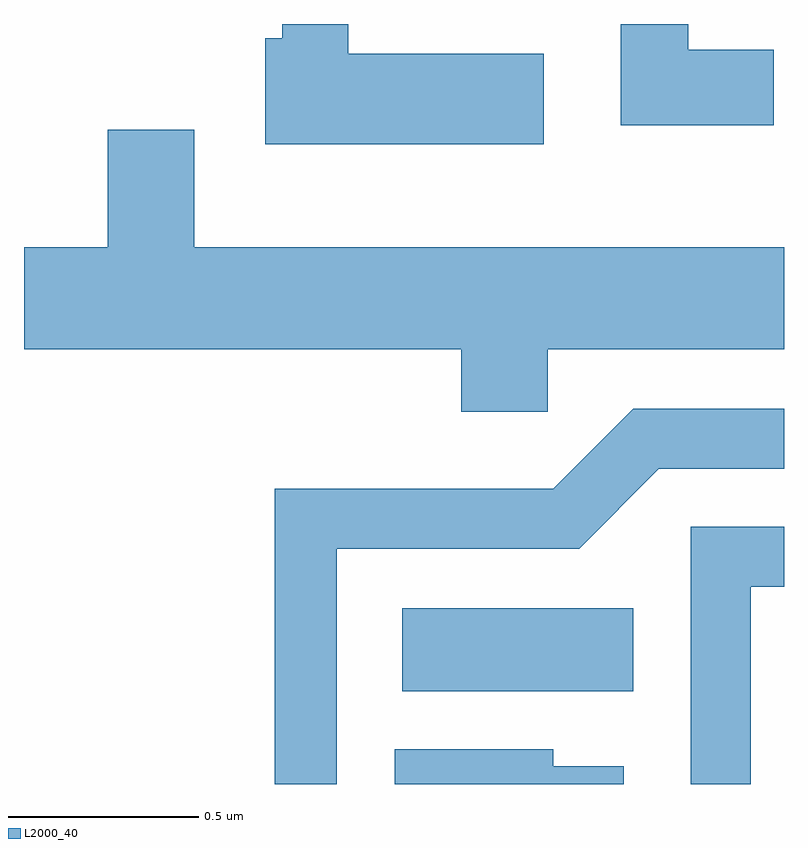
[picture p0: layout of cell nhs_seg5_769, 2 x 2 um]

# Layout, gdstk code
import gdstk
lib = gdstk.Library(unit=1e-6, precision=1e-09)
def R(c, l, rs):  # rectangles x0, y0, x1, y1
    for r in rs: c.add(gdstk.rectangle(r[:2], r[2:], *l))
def P(c, l, *ps):  # polygons
    for p in ps: c.add(gdstk.Polygon(p, *l))
L2000_40 = (2000, 40)

nhs_seg5_769 = lib.new_cell('nhs_seg5_769')
R(nhs_seg5_769, L2000_40, [(191.606,1480.316,192.214,1480.534)])
P(nhs_seg5_769, L2000_40, [(191.979,1481.994),(191.464,1481.994),(191.464,1482.072),(191.291,1482.072),(191.291,1482.034),(191.246,1482.034),(191.246,1481.756),(191.979,1481.756)],
  [(192.584,1482.004),(192.359,1482.004),(192.359,1482.072),(192.181,1482.072),(192.181,1481.806),(192.584,1481.806)],
  [(191.989,1481.216),(192.611,1481.216),(192.611,1481.484),(191.059,1481.484),(191.059,1481.794),(190.831,1481.794),(190.831,1481.484),(190.611,1481.484),(190.611,1481.216),(191.761,1481.216),(191.761,1481.051),(191.989,1481.051)],
  [(191.434,1480.691),(192.072,1480.691),(192.282,1480.901),(192.611,1480.901),(192.611,1481.059),(192.214,1481.059),(192.004,1480.849),(191.271,1480.849),(191.271,1480.072),(191.434,1480.072)],
  [(192.524,1480.591),(192.611,1480.591),(192.611,1480.749),(192.366,1480.749),(192.366,1480.072),(192.524,1480.072)],
  [(192.189,1480.119),(192.004,1480.119),(192.004,1480.164),(191.586,1480.164),(191.586,1480.072),(192.189,1480.072)])

lib.write_gds('nhs_seg5_769.gds')
